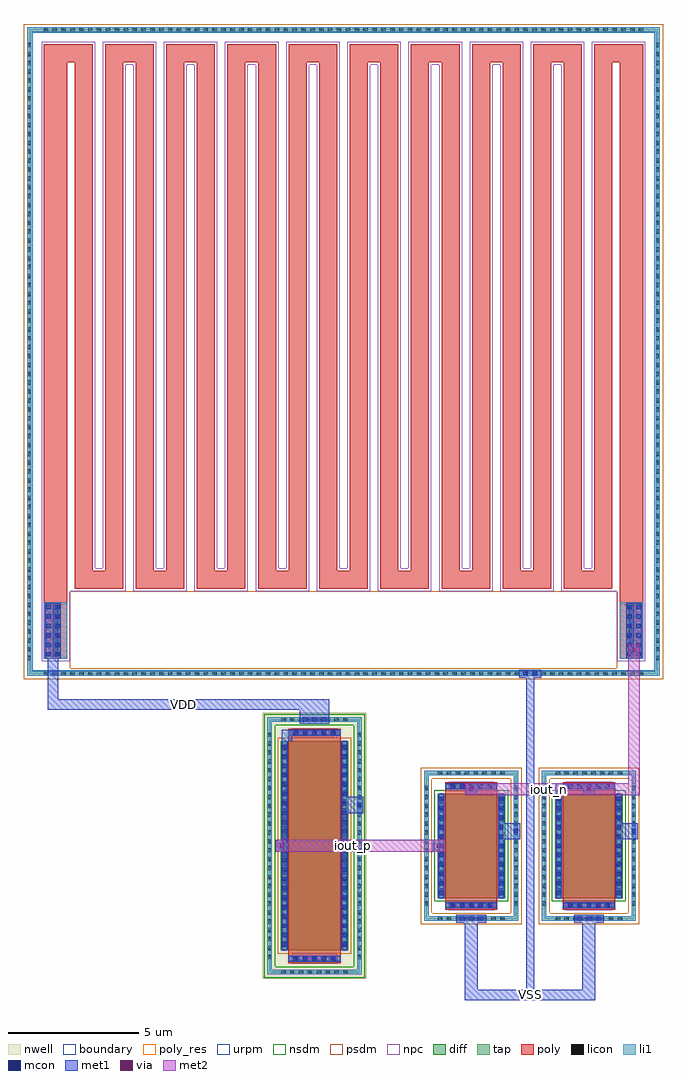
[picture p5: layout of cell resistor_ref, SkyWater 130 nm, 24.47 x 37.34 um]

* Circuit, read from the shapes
.subckt resistor_ref VDD VSS iout_n iout_p
XM1 VSS iout_n iout_p VSS sky130_fd_pr__nfet_01v8 w=4 l=2
XM2 VSS iout_n iout_n VSS sky130_fd_pr__nfet_01v8 w=4 l=2
XM3 VDD iout_p iout_p VDD sky130_fd_pr__pfet_01v8 w=8 l=2
XR4 VDD iout_n VSS sky130_fd_pr__res_xhigh_po w=0.89 l=340.3438
.ends

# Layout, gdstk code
import gdstk
lib = gdstk.Library(unit=1e-6, precision=1e-09)
def R(c, l, rs):  # rectangles x0, y0, x1, y1
    for r in rs: c.add(gdstk.rectangle(r[:2], r[2:], *l))
def A(c, l, x, y, w, h, nx, ny, dx, dy):  # array of equal rectangles
    R(c, l, [(x+i*dx, y+j*dy, x+i*dx+w, y+j*dy+h) for i in range(nx) for j in range(ny)])
nwell = (64, 20)
diff = (65, 20)
tap = (65, 44)
poly_res = (66, 13)
poly = (66, 20)
licon = (66, 44)
li1 = (67, 20)
mcon = (67, 44)
met1 = (68, 20)
via = (68, 44)
met2 = (69, 20)
urpm = (79, 20)
nsdm = (93, 44)
psdm = (94, 20)
npc = (95, 20)
boundary = (235, 4)

rset_1p2m = lib.new_cell('rset_1p2m')
R(rset_1p2m, tap, [(-12.11,-12.41,12.11,-12.24), (-12.11,-12.24,-11.94,12.24), (11.94,-12.24,12.11,12.24), (-12.11,12.24,12.11,12.41)])
A(rset_1p2m, poly_res, -10.29, -9.08, 1.86, 0.69, 9, 1, 2.34, 0)
A(rset_1p2m, poly_res, -10.29, -8.39, 0.69, 19.46, 18, 1, 1.17, 0)
A(rset_1p2m, poly_res, -11.46, 11.07, 1.86, 0.69, 10, 1, 2.34, 0)
R(rset_1p2m, poly_res, [(-11.46,-9.68,-10.57,11.07), (10.57,-9.68,11.46,11.07)])
A(rset_1p2m, poly, -10.29, -9.08, 1.86, 0.69, 9, 1, 2.34, 0)
A(rset_1p2m, poly, -10.29, -8.39, 0.69, 19.46, 18, 1, 1.17, 0)
A(rset_1p2m, poly, -11.46, 11.07, 1.86, 0.69, 10, 1, 2.34, 0)
R(rset_1p2m, poly, [(-11.46,-11.76,-10.57,11.07), (10.57,-11.76,11.46,11.07)])
A(rset_1p2m, licon, -11.475, -12.41, 0.17, 0.17, 68, 2, 0.34, 24.65)
A(rset_1p2m, licon, -12.11, -11.815, 0.17, 0.17, 1, 70, 0, 0.34)
A(rset_1p2m, licon, 11.94, -11.815, 0.17, 0.17, 1, 70, 0, 0.34)
R(rset_1p2m, licon, [(-11.11,-11.68,-10.92,-9.68), (10.92,-11.68,11.11,-9.68)])
R(rset_1p2m, li1, [(-12.11,-12.41,12.11,-12.24), (-12.11,-12.24,-11.94,12.24), (11.94,-12.24,12.11,12.24), (-11.46,-11.76,-10.57,-9.6), (10.57,-11.76,11.46,-9.6), (-12.11,12.24,12.11,12.41)])
A(rset_1p2m, mcon, -11.38, -11.665, 0.17, 0.17, 1, 6, 0, 0.36)
A(rset_1p2m, mcon, -11.02, -11.665, 0.17, 0.17, 1, 6, 0, 0.36)
A(rset_1p2m, mcon, 10.85, -11.665, 0.17, 0.17, 1, 6, 0, 0.36)
A(rset_1p2m, mcon, 11.21, -11.665, 0.17, 0.17, 1, 6, 0, 0.36)
R(rset_1p2m, met1, [(-11.41,-11.73,-10.82,-9.625), (10.82,-11.73,11.41,-9.625)])
R(rset_1p2m, urpm, [(-11.91,-12.21,11.91,12.21)])
R(rset_1p2m, psdm, [(-12.235,-12.535,12.235,-12.115), (-12.235,-12.115,-10.46,-9.19), (10.46,-12.115,12.235,-9.19), (-12.235,-9.19,12.235,12.535)])
A(rset_1p2m, npc, -8.045, -9.175, 2.05, 0.88, 7, 1, 2.34, 0)
A(rset_1p2m, npc, -9.215, -8.295, 0.88, 19.27, 16, 1, 1.17, 0)
A(rset_1p2m, npc, -9.215, 10.975, 2.05, 0.88, 8, 1, 2.34, 0)
R(rset_1p2m, npc, [(-11.555,-11.855,-10.475,-9.175), (10.475,-11.855,11.555,-9.175), (-11.555,-9.175,-8.335,-8.295), (8.335,-9.175,11.555,-8.295), (-11.555,-8.295,-9.505,11.855), (9.505,-8.295,11.555,11.855)])
R(rset_1p2m, boundary, [(-12.025,-12.325,12.025,12.325)])
rset_1p2m.add(gdstk.Label('B', (0,-12.325), layer=67, texttype=5))
rset_1p2m.add(gdstk.Label('R1', (-11.115,-11.585), layer=67, texttype=5))
rset_1p2m.add(gdstk.Label('R2', (11.115,-11.585), layer=67, texttype=5))

ref_n4_l2 = lib.new_cell('ref_n4_l2')
R(ref_n4_l2, diff, [(-1.29,-2,1.29,2)])
R(ref_n4_l2, tap, [(-1.8,-2.87,1.8,-2.7), (-1.8,-2.7,-1.63,2.7), (1.63,-2.7,1.8,2.7), (-1.8,2.7,1.8,2.87)])
R(ref_n4_l2, poly, [(-1,-2.44,1,2.44)])
A(ref_n4_l2, licon, -1.275, -2.87, 0.17, 0.17, 8, 2, 0.34, 5.57)
A(ref_n4_l2, licon, -0.765, -2.36, 0.17, 0.17, 5, 2, 0.34, 4.55)
A(ref_n4_l2, licon, -1.8, -2.295, 0.17, 0.17, 1, 14, 0, 0.34)
A(ref_n4_l2, licon, 1.63, -2.295, 0.17, 0.17, 1, 14, 0, 0.34)
A(ref_n4_l2, licon, -1.23, -1.785, 0.17, 0.17, 1, 11, 0, 0.34)
A(ref_n4_l2, licon, 1.06, -1.785, 0.17, 0.17, 1, 11, 0, 0.34)
R(ref_n4_l2, li1, [(-1.8,-2.87,1.8,-2.7), (-1.8,-2.7,-1.63,2.7), (1.63,-2.7,1.8,2.7), (-1,-2.36,1,-2.19), (-1.23,-2.02,-1.06,2.02), (1.06,-2.02,1.23,2.02), (-1,2.19,1,2.36), (-1.8,2.7,1.8,2.87)])
A(ref_n4_l2, mcon, -0.805, -2.36, 0.17, 0.17, 5, 2, 0.36, 4.55)
A(ref_n4_l2, mcon, -1.23, -1.885, 0.17, 0.17, 1, 11, 0, 0.36)
A(ref_n4_l2, mcon, 1.06, -1.885, 0.17, 0.17, 1, 11, 0, 0.36)
R(ref_n4_l2, met1, [(-0.98,-2.39,0.98,-2.16), (-1.26,-2,-1.03,2), (1.03,-2,1.26,2), (-0.98,2.16,0.98,2.39)])
R(ref_n4_l2, nsdm, [(-1.415,-2.125,1.415,2.125)])
R(ref_n4_l2, psdm, [(-1.925,-2.995,1.925,-2.575), (-1.925,-2.575,-1.505,2.575), (1.505,-2.575,1.925,2.575), (-1.925,2.575,1.925,2.995)])
R(ref_n4_l2, npc, [(-0.865,-2.46,0.865,-2.09), (-0.865,2.09,0.865,2.46)])
R(ref_n4_l2, boundary, [(-1.715,-2.785,1.715,2.785)])
ref_n4_l2.add(gdstk.Label('B', (0,-2.785), layer=67, texttype=5))
ref_n4_l2.add(gdstk.Label('D', (-1.145,0), layer=67, texttype=5))
ref_n4_l2.add(gdstk.Label('S', (1.145,0), layer=67, texttype=5))
ref_n4_l2.add(gdstk.Label('G', (0,2.275), layer=67, texttype=5))

ref_p8_l2 = lib.new_cell('ref_p8_l2')
R(ref_p8_l2, nwell, [(-1.98,-5.095,1.98,5.095)])
R(ref_p8_l2, diff, [(-1.29,-4,1.29,4)])
R(ref_p8_l2, tap, [(-1.8,-4.915,1.8,-4.745), (-1.8,-4.745,-1.63,4.745), (1.63,-4.745,1.8,4.745), (-1.8,4.745,1.8,4.915)])
R(ref_p8_l2, poly, [(-1,-4.485,1,4.485)])
A(ref_p8_l2, licon, -1.275, -4.915, 0.17, 0.17, 8, 2, 0.34, 9.66)
A(ref_p8_l2, licon, -0.765, -4.405, 0.17, 0.17, 5, 2, 0.34, 8.64)
A(ref_p8_l2, licon, -1.8, -4.335, 0.17, 0.17, 1, 26, 0, 0.34)
A(ref_p8_l2, licon, 1.63, -4.335, 0.17, 0.17, 1, 26, 0, 0.34)
A(ref_p8_l2, licon, -1.23, -3.825, 0.17, 0.17, 1, 23, 0, 0.34)
A(ref_p8_l2, licon, 1.06, -3.825, 0.17, 0.17, 1, 23, 0, 0.34)
R(ref_p8_l2, li1, [(-1.8,-4.915,1.8,-4.745), (-1.8,-4.745,-1.63,4.745), (1.63,-4.745,1.8,4.745), (-1,-4.405,1,-4.235), (-1.23,-4.02,-1.06,4.02), (1.06,-4.02,1.23,4.02), (-1,4.235,1,4.405), (-1.8,4.745,1.8,4.915)])
A(ref_p8_l2, mcon, -0.805, -4.405, 0.17, 0.17, 5, 2, 0.36, 8.64)
A(ref_p8_l2, mcon, -1.23, -3.865, 0.17, 0.17, 1, 22, 0, 0.36)
A(ref_p8_l2, mcon, 1.06, -3.865, 0.17, 0.17, 1, 22, 0, 0.36)
R(ref_p8_l2, met1, [(-0.98,-4.435,0.98,-4.205), (-1.26,-4,-1.03,4), (1.03,-4,1.26,4), (-0.98,4.205,0.98,4.435)])
R(ref_p8_l2, nsdm, [(-1.925,-5.04,1.925,-4.62), (-1.925,-4.62,-1.505,4.62), (1.505,-4.62,1.925,4.62), (-1.925,4.62,1.925,5.04)])
R(ref_p8_l2, psdm, [(-1.415,-4.125,1.415,4.125)])
R(ref_p8_l2, npc, [(-0.865,-4.505,0.865,-4.135), (-0.865,4.135,0.865,4.505)])
R(ref_p8_l2, boundary, [(-1.715,-4.83,1.715,4.83)])
ref_p8_l2.add(gdstk.Label('B', (0,-4.83), layer=67, texttype=5))
ref_p8_l2.add(gdstk.Label('D', (-1.145,0), layer=67, texttype=5))
ref_p8_l2.add(gdstk.Label('S', (1.145,0), layer=67, texttype=5))
ref_p8_l2.add(gdstk.Label('G', (0,4.32), layer=67, texttype=5))

resistor_ref = lib.new_cell('resistor_ref')
R(resistor_ref, li1, [(16.5,3.63,17.5,3.8), (21,3.63,22,3.8), (18.63,6.835,18.8,7.285), (23.13,6.835,23.3,7.285), (12.63,7.835,12.8,8.285), (10.5,11.245,11.5,11.415), (18.9,13,19.6,13.17)])
A(resistor_ref, mcon, 16.555, 3.63, 0.17, 0.17, 3, 1, 0.36, 0)
A(resistor_ref, mcon, 21.055, 3.63, 0.17, 0.17, 3, 1, 0.36, 0)
A(resistor_ref, mcon, 10.555, 11.245, 0.17, 0.17, 3, 1, 0.36, 0)
R(resistor_ref, mcon, [(18.63,6.975,18.8,7.145), (23.13,6.975,23.3,7.145), (12.63,7.975,12.8,8.145), (18.985,13,19.155,13.17), (19.345,13,19.515,13.17)])
R(resistor_ref, met1, [(16.75,0.6,21.75,1), (16.75,1,17.25,3.56), (19.1,1,19.4,12.93), (21.25,1,21.75,3.56), (16.43,3.56,17.57,3.87), (20.93,3.56,22.07,3.87), (9.52,6.275,9.97,6.725), (15.52,6.275,15.97,6.725), (18.03,6.75,18.87,7.37), (22.53,6.75,23.37,7.37), (12.03,7.75,12.87,8.37), (16.775,8.44,17.225,8.89), (21.275,8.44,21.725,8.89), (20.24,8.5,20.65,8.89), (9.74,10.5,10.15,10.935), (10.43,11.175,11.57,11.7), (0.8,11.7,11.57,12.1), (0.8,12.1,1.2,13.68), (18.83,12.93,19.67,13.24), (22.95,13.775,23.5,14.225)])
R(resistor_ref, via, [(9.67,6.425,9.82,6.575), (15.67,6.425,15.82,6.575), (16.925,8.59,17.075,8.74), (21.425,8.59,21.575,8.74), (23.15,13.925,23.3,14.075)])
R(resistor_ref, met2, [(9.52,6.275,15.97,6.725), (16.775,8.44,23.45,8.89), (23,8.89,23.45,14.225)])
resistor_ref.add(gdstk.Reference(rset_1p2m, (12.11,25.41)))
resistor_ref.add(gdstk.Reference(ref_n4_l2, (21.5,6.5)))
resistor_ref.add(gdstk.Reference(ref_n4_l2, (17,6.5)))
resistor_ref.add(gdstk.Reference(ref_p8_l2, (11,6.5)))
resistor_ref.add(gdstk.Label('iout_n', (20,8.665), layer=69, texttype=5))
resistor_ref.add(gdstk.Label('iout_p', (12.5,6.5), layer=69, texttype=5))
resistor_ref.add(gdstk.Label('VDD', (6,11.9), layer=68, texttype=5))
resistor_ref.add(gdstk.Label('VSS', (19.25,0.8), layer=68, texttype=5))

lib.write_gds('resistor_ref.gds')
